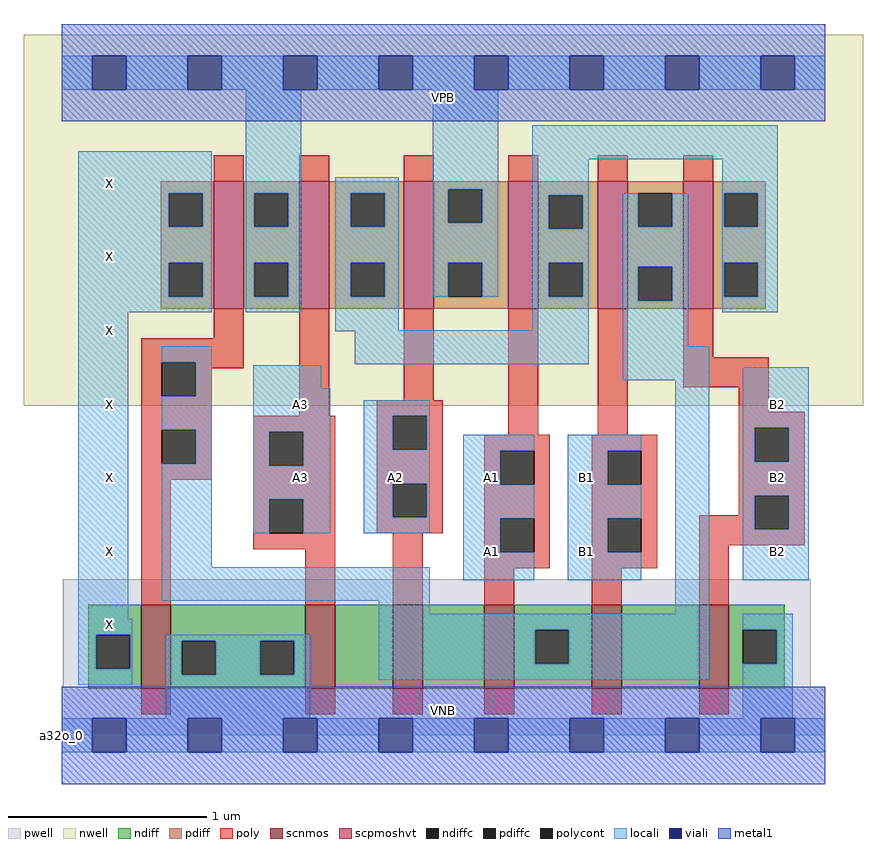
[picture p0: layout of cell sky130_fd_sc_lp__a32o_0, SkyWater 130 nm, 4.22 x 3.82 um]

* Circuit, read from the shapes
.subckt sky130_fd_sc_lp__a32o_0 A1 A2 A3 B1 B2 VGND VNB VPB VPWR X
XM1 VGND n1 X VNB sky130_fd_pr__nfet_01v8 w=0.42 l=0.15
XM2 n2 A3 VGND VNB sky130_fd_pr__nfet_01v8 w=0.42 l=0.15
XM3 n3 A2 n2 VNB sky130_fd_pr__nfet_01v8 w=0.42 l=0.15
XM4 n1 A1 n3 VNB sky130_fd_pr__nfet_01v8 w=0.42 l=0.15
XM5 n4 B1 n1 VNB sky130_fd_pr__nfet_01v8 w=0.42 l=0.15
XM6 VGND B2 n4 VNB sky130_fd_pr__nfet_01v8 w=0.42 l=0.15
XM7 VPWR n1 X VPB sky130_fd_pr__pfet_01v8_hvt w=0.64 l=0.15
XM8 n5 A3 VPWR VPB sky130_fd_pr__pfet_01v8_hvt w=0.64 l=0.15
XM9 VPWR A2 n5 VPB sky130_fd_pr__pfet_01v8_hvt w=0.64 l=0.15
XM10 n5 A1 VPWR VPB sky130_fd_pr__pfet_01v8_hvt w=0.64 l=0.15
XM11 n1 B1 n5 VPB sky130_fd_pr__pfet_01v8_hvt w=0.64 l=0.15
XM12 n5 B2 n1 VPB sky130_fd_pr__pfet_01v8_hvt w=0.64 l=0.15
.ends

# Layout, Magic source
magic
tech sky130A
magscale 1 2
<< nwell >>
rect -38 331 806 704
<< pwell >>
rect 1 49 753 157
rect 0 0 768 49
<< scnmos >>
rect 80 47 110 131
rect 245 47 275 131
rect 333 47 363 131
rect 425 47 455 131
rect 533 47 563 131
rect 641 47 671 131
<< scpmoshvt >>
rect 153 429 183 557
rect 239 429 269 557
rect 344 429 374 557
rect 449 429 479 557
rect 539 429 569 557
rect 625 429 655 557
<< ndiff >>
rect 27 101 80 131
rect 27 67 35 101
rect 69 67 80 101
rect 27 47 80 67
rect 110 95 245 131
rect 110 61 121 95
rect 155 61 200 95
rect 234 61 245 95
rect 110 47 245 61
rect 275 47 333 131
rect 363 47 425 131
rect 455 106 533 131
rect 455 72 476 106
rect 510 72 533 106
rect 455 47 533 72
rect 563 47 641 131
rect 671 106 727 131
rect 671 72 685 106
rect 719 72 727 106
rect 671 47 727 72
<< pdiff >>
rect 100 545 153 557
rect 100 511 108 545
rect 142 511 153 545
rect 100 475 153 511
rect 100 441 108 475
rect 142 441 153 475
rect 100 429 153 441
rect 183 545 239 557
rect 183 511 194 545
rect 228 511 239 545
rect 183 475 239 511
rect 183 441 194 475
rect 228 441 239 475
rect 183 429 239 441
rect 269 545 344 557
rect 269 511 291 545
rect 325 511 344 545
rect 269 475 344 511
rect 269 441 291 475
rect 325 441 344 475
rect 269 429 344 441
rect 374 549 449 557
rect 374 515 389 549
rect 423 515 449 549
rect 374 475 449 515
rect 374 441 389 475
rect 423 441 449 475
rect 374 429 449 441
rect 479 543 539 557
rect 479 509 490 543
rect 524 509 539 543
rect 479 475 539 509
rect 479 441 490 475
rect 524 441 539 475
rect 479 429 539 441
rect 569 545 625 557
rect 569 511 580 545
rect 614 511 625 545
rect 569 471 625 511
rect 569 437 580 471
rect 614 437 625 471
rect 569 429 625 437
rect 655 545 708 557
rect 655 511 666 545
rect 700 511 708 545
rect 655 475 708 511
rect 655 441 666 475
rect 700 441 708 475
rect 655 429 708 441
<< ndiffc >>
rect 35 67 69 101
rect 121 61 155 95
rect 200 61 234 95
rect 476 72 510 106
rect 685 72 719 106
<< pdiffc >>
rect 108 511 142 545
rect 108 441 142 475
rect 194 511 228 545
rect 194 441 228 475
rect 291 511 325 545
rect 291 441 325 475
rect 389 515 423 549
rect 389 441 423 475
rect 490 509 524 543
rect 490 441 524 475
rect 580 511 614 545
rect 580 437 614 471
rect 666 511 700 545
rect 666 441 700 475
<< poly >>
rect 153 557 183 583
rect 239 557 269 583
rect 344 557 374 583
rect 449 557 479 583
rect 539 557 569 583
rect 625 557 655 583
rect 153 399 183 429
rect 80 375 183 399
rect 80 341 101 375
rect 135 369 183 375
rect 135 341 151 369
rect 80 307 151 341
rect 239 321 269 429
rect 344 337 374 429
rect 317 321 383 337
rect 80 273 101 307
rect 135 273 151 307
rect 80 257 151 273
rect 193 305 275 321
rect 193 271 209 305
rect 243 271 275 305
rect 80 131 110 257
rect 193 237 275 271
rect 193 203 209 237
rect 243 203 275 237
rect 317 287 333 321
rect 367 287 383 321
rect 449 302 479 429
rect 539 302 569 429
rect 625 380 655 429
rect 625 350 711 380
rect 681 325 711 350
rect 681 309 747 325
rect 317 253 383 287
rect 317 219 333 253
rect 367 219 383 253
rect 317 203 383 219
rect 425 286 491 302
rect 425 252 441 286
rect 475 252 491 286
rect 425 218 491 252
rect 193 187 275 203
rect 245 131 275 187
rect 333 131 363 203
rect 425 184 441 218
rect 475 184 491 218
rect 425 168 491 184
rect 533 286 599 302
rect 533 252 549 286
rect 583 252 599 286
rect 533 218 599 252
rect 681 275 697 309
rect 731 275 747 309
rect 681 241 747 275
rect 681 221 697 241
rect 533 184 549 218
rect 583 184 599 218
rect 533 168 599 184
rect 641 207 697 221
rect 731 207 747 241
rect 641 191 747 207
rect 425 131 455 168
rect 533 131 563 168
rect 641 131 671 191
rect 80 21 110 47
rect 245 21 275 47
rect 333 21 363 47
rect 425 21 455 47
rect 533 21 563 47
rect 641 21 671 47
<< polycont >>
rect 101 341 135 375
rect 101 273 135 307
rect 209 271 243 305
rect 209 203 243 237
rect 333 287 367 321
rect 333 219 367 253
rect 441 252 475 286
rect 441 184 475 218
rect 549 252 583 286
rect 697 275 731 309
rect 549 184 583 218
rect 697 207 731 241
<< locali >>
rect 0 649 31 683
rect 65 649 127 683
rect 161 649 223 683
rect 257 649 319 683
rect 353 649 415 683
rect 449 649 511 683
rect 545 649 607 683
rect 641 649 703 683
rect 737 649 768 683
rect 17 545 151 587
rect 17 511 108 545
rect 142 511 151 545
rect 17 475 151 511
rect 17 441 108 475
rect 142 441 151 475
rect 17 425 151 441
rect 185 545 241 649
rect 185 511 194 545
rect 228 511 241 545
rect 185 475 241 511
rect 185 441 194 475
rect 228 441 241 475
rect 185 425 241 441
rect 275 545 339 561
rect 275 511 291 545
rect 325 511 339 545
rect 275 475 339 511
rect 275 441 291 475
rect 325 441 339 475
rect 373 549 439 649
rect 373 515 389 549
rect 423 515 439 549
rect 373 475 439 515
rect 373 441 389 475
rect 423 441 439 475
rect 473 579 720 613
rect 473 543 530 579
rect 664 545 720 579
rect 473 509 490 543
rect 524 509 530 543
rect 473 475 530 509
rect 473 441 490 475
rect 524 441 530 475
rect 17 117 67 425
rect 275 407 339 441
rect 473 407 530 441
rect 275 406 530 407
rect 101 375 151 391
rect 135 341 151 375
rect 295 373 530 406
rect 564 511 580 545
rect 614 511 630 545
rect 564 471 630 511
rect 564 437 580 471
rect 614 437 630 471
rect 564 391 630 437
rect 664 511 666 545
rect 700 511 720 545
rect 664 475 720 511
rect 664 441 666 475
rect 700 441 720 475
rect 664 425 720 441
rect 101 307 151 341
rect 135 273 151 307
rect 101 169 151 273
rect 193 349 261 372
rect 564 357 651 391
rect 193 305 270 349
rect 193 271 209 305
rect 243 271 270 305
rect 193 237 270 271
rect 193 203 209 237
rect 243 203 270 237
rect 304 321 370 337
rect 304 287 333 321
rect 367 287 370 321
rect 304 253 370 287
rect 304 219 333 253
rect 367 219 370 253
rect 304 203 370 219
rect 404 286 475 302
rect 404 252 441 286
rect 404 218 475 252
rect 404 184 441 218
rect 101 135 370 169
rect 404 156 475 184
rect 509 286 583 302
rect 509 252 549 286
rect 509 218 583 252
rect 509 184 549 218
rect 509 156 583 184
rect 319 122 370 135
rect 617 122 651 357
rect 685 309 751 370
rect 685 275 697 309
rect 731 275 751 309
rect 685 241 751 275
rect 685 207 697 241
rect 731 207 751 241
rect 685 156 751 207
rect 17 101 71 117
rect 319 106 651 122
rect 17 67 35 101
rect 69 67 71 101
rect 17 51 71 67
rect 105 95 250 101
rect 105 61 121 95
rect 155 61 200 95
rect 234 61 250 95
rect 105 17 250 61
rect 319 72 476 106
rect 510 72 651 106
rect 319 56 651 72
rect 685 106 735 122
rect 719 72 735 106
rect 685 17 735 72
rect 0 -17 31 17
rect 65 -17 127 17
rect 161 -17 223 17
rect 257 -17 319 17
rect 353 -17 415 17
rect 449 -17 511 17
rect 545 -17 607 17
rect 641 -17 703 17
rect 737 -17 768 17
<< viali >>
rect 31 649 65 683
rect 127 649 161 683
rect 223 649 257 683
rect 319 649 353 683
rect 415 649 449 683
rect 511 649 545 683
rect 607 649 641 683
rect 703 649 737 683
rect 31 -17 65 17
rect 127 -17 161 17
rect 223 -17 257 17
rect 319 -17 353 17
rect 415 -17 449 17
rect 511 -17 545 17
rect 607 -17 641 17
rect 703 -17 737 17
<< metal1 >>
rect 0 683 768 715
rect 0 649 31 683
rect 65 649 127 683
rect 161 649 223 683
rect 257 649 319 683
rect 353 649 415 683
rect 449 649 511 683
rect 545 649 607 683
rect 641 649 703 683
rect 737 649 768 683
rect 0 617 768 649
rect 0 17 768 49
rect 0 -17 31 17
rect 65 -17 127 17
rect 161 -17 223 17
rect 257 -17 319 17
rect 353 -17 415 17
rect 449 -17 511 17
rect 545 -17 607 17
rect 641 -17 703 17
rect 737 -17 768 17
rect 0 -49 768 -17
<< labels >>
flabel pwell s 0 0 768 49 0 FreeSans 200 0 0 0 VNB
port 7 nsew ground bidirectional
flabel nwell s 0 617 768 666 0 FreeSans 200 0 0 0 VPB
port 8 nsew power bidirectional
rlabel comment s 0 0 0 0 4 a32o_0
flabel metal1 s 0 617 768 666 0 FreeSans 340 0 0 0 VPWR
port 9 nsew power bidirectional
flabel metal1 s 0 0 768 49 0 FreeSans 340 0 0 0 VGND
port 6 nsew ground bidirectional
flabel locali s 415 168 449 202 0 FreeSans 340 0 0 0 A1
port 1 nsew signal input
flabel locali s 415 242 449 276 0 FreeSans 340 0 0 0 A1
port 1 nsew signal input
flabel locali s 319 242 353 276 0 FreeSans 340 0 0 0 A2
port 2 nsew signal input
flabel locali s 223 242 257 276 0 FreeSans 340 0 0 0 A3
port 3 nsew signal input
flabel locali s 223 316 257 350 0 FreeSans 340 0 0 0 A3
port 3 nsew signal input
flabel locali s 511 168 545 202 0 FreeSans 340 0 0 0 B1
port 4 nsew signal input
flabel locali s 511 242 545 276 0 FreeSans 340 0 0 0 B1
port 4 nsew signal input
flabel locali s 703 168 737 202 0 FreeSans 340 0 0 0 B2
port 5 nsew signal input
flabel locali s 703 242 737 276 0 FreeSans 340 0 0 0 B2
port 5 nsew signal input
flabel locali s 703 316 737 350 0 FreeSans 340 0 0 0 B2
port 5 nsew signal input
flabel locali s 31 94 65 128 0 FreeSans 340 0 0 0 X
port 10 nsew signal output
flabel locali s 31 168 65 202 0 FreeSans 340 0 0 0 X
port 10 nsew signal output
flabel locali s 31 242 65 276 0 FreeSans 340 0 0 0 X
port 10 nsew signal output
flabel locali s 31 316 65 350 0 FreeSans 340 0 0 0 X
port 10 nsew signal output
flabel locali s 31 390 65 424 0 FreeSans 340 0 0 0 X
port 10 nsew signal output
flabel locali s 31 464 65 498 0 FreeSans 340 0 0 0 X
port 10 nsew signal output
flabel locali s 31 538 65 572 0 FreeSans 340 0 0 0 X
port 10 nsew signal output
<< properties >>
string LEFsite unit
string LEFclass CORE
string FIXED_BBOX 0 0 768 666
string GDS_FILE $PDKPATH/libs.ref/sky130_fd_sc_lp/gds/sky130_fd_sc_lp.gds
string LEFsymmetry X Y R90
string GDS_END 2036860
string GDS_START 2028578
<< end >>
